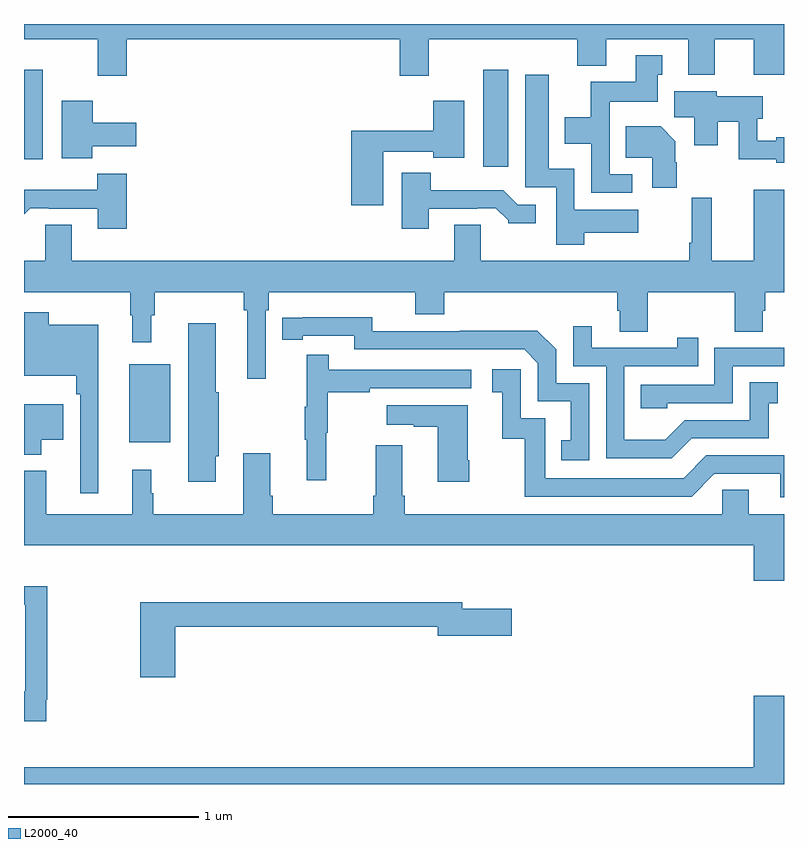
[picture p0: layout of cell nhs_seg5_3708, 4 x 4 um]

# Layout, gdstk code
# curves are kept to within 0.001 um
import gdstk
lib = gdstk.Library(unit=1e-6, precision=1e-09)
def R(c, l, rs):  # rectangles x0, y0, x1, y1
    for r in rs: c.add(gdstk.rectangle(r[:2], r[2:], *l))
def P(c, l, *ps):  # polygons
    for p in ps: c.add(gdstk.Polygon(p, *l))
L2000_40 = (2000, 40)

nhs_seg5_3708 = lib.new_cell('nhs_seg5_3708')
R(nhs_seg5_3708, L2000_40, [(329.555,894.599,329.77,895.009), (331.418,896.049,331.549,896.557), (329,896.088,329.098,896.557)])
P(nhs_seg5_3708, L2000_40, [(329,896.72),(329.387,896.72),(329.387,896.526),(329.54,896.526),(329.54,896.72),(330.977,896.72),(330.977,896.526),(331.129,896.526),(331.129,896.72),(331.913,896.72),(331.913,896.579),(332.065,896.579),(332.065,896.72),(332.495,896.72),(332.495,896.531),(332.635,896.531),(332.635,896.72),(332.84,896.72),(332.84,896.532),(333,896.532),(333,896.799),(329,896.799)],
  [(332.2,896.007),(332.082,896.007),(332.082,896.39),(332.335,896.39),(332.335,896.532),(332.359,896.532),(332.359,896.635),(332.219,896.635),(332.219,896.494),(331.984,896.494),(331.984,896.308),(331.847,896.308),(331.847,896.168),(331.986,896.168),(331.986,895.911),(332.2,895.911)],
  [(331.949,895.7),(332.233,895.7),(332.233,895.822),(331.896,895.822),(331.896,896.038),(331.762,896.038),(331.762,896.533),(331.637,896.533),(331.637,895.941),(331.8,895.941),(331.8,895.638),(331.949,895.638)],
  [(333,896.204),(332.958,896.204),(332.958,896.184),(332.859,896.184),(332.859,896.301),(332.887,896.301),(332.887,896.419),(332.646,896.419),(332.646,896.446),(332.423,896.446),(332.423,896.308),(332.528,896.308),(332.528,896.16),(332.65,896.16),(332.65,896.285),(332.763,896.285),(332.763,896.087),(332.958,896.087),(332.958,896.068),(333,896.068)],
  [(330.892,896.127),(331.154,896.127),(331.154,896.096),(331.318,896.096),(331.318,896.395),(331.154,896.395),(331.154,896.236),(330.722,896.236),(330.722,895.845),(330.892,895.845)],
  [(329.36,896.156),(329.59,896.156),(329.59,896.278),(329.362,896.278),(329.362,896.395),(329.198,896.395),(329.198,896.093),(329.36,896.093)],
  [(332.436,896.072),(332.428,896.072),(332.428,896.182),(332.35,896.26),(332.167,896.26),(332.167,896.096),(332.306,896.096),(332.306,895.938),(332.436,895.938)],
  [(331.129,895.827),(331.385,895.827),(331.385,895.83),(331.484,895.83),(331.548,895.766),(331.548,895.751),(331.693,895.751),(331.693,895.848),(331.599,895.848),(331.523,895.924),(331.141,895.924),(331.141,896.017),(330.989,896.017),(330.989,895.722),(331.129,895.722)],
  [(329.54,896.011),(329.385,896.011),(329.385,895.927),(329,895.927),(329,895.798),(329.032,895.83),(329.131,895.83),(329.131,895.827),(329.387,895.827),(329.387,895.722),(329.54,895.722)],
  [(330.273,895.292),(330.287,895.292),(330.287,895.388),(331.058,895.388),(331.058,895.271),(331.211,895.271),(331.211,895.388),(332.123,895.388),(332.123,895.29),(332.135,895.29),(332.135,895.18),(332.283,895.18),(332.283,895.388),(332.74,895.388),(332.74,895.18),(332.887,895.18),(332.887,895.29),(332.9,895.29),(332.9,895.388),(333,895.388),(333,895.927),(332.84,895.927),(332.84,895.552),(332.619,895.552),(332.619,895.885),(332.515,895.885),(332.515,895.648),(332.5,895.648),(332.5,895.552),(331.405,895.552),(331.405,895.742),(331.265,895.742),(331.265,895.552),(329.251,895.552),(329.251,895.742),(329.111,895.742),(329.111,895.552),(329,895.552),(329,895.388),(329.559,895.388),(329.559,895.265),(329.57,895.265),(329.57,895.125),(329.669,895.125),(329.669,895.265),(329.687,895.265),(329.687,895.388),(330.157,895.388),(330.157,895.292),(330.176,895.292),(330.176,894.933),(330.273,894.933)],
  [(329.392,895.216),(329.131,895.216),(329.131,895.282),(329.002,895.282),(329.002,895.105),(329,895.105),(329,894.947),(329.275,894.947),(329.275,894.851),(329.295,894.851),(329.295,894.33),(329.392,894.33)],
  [(331.974,894.909),(331.8,894.909),(331.8,895.086),(331.702,895.184),(331.294,895.184),(331.294,895.182),(330.834,895.182),(330.834,895.255),(330.358,895.254),(330.358,895.138),(330.466,895.138),(330.466,895.158),(330.738,895.158),(330.738,895.086),(331.632,895.086),(331.704,895.014),(331.704,894.813),(331.877,894.813),(331.877,894.609),(331.828,894.609),(331.828,894.504),(331.974,894.504)],
  [(330.01,894.525),(330.025,894.525),(330.025,894.861),(330.01,894.861),(330.01,895.225),(329.864,895.225),(329.864,894.39),(330.01,894.39)],
  [(332.515,894.618),(332.919,894.618),(332.919,894.803),(332.968,894.803),(332.968,894.913),(332.82,894.913),(332.82,894.714),(332.478,894.714),(332.374,894.61),(332.16,894.61),(332.16,894.999),(332.549,894.999),(332.549,895.147),(332.438,895.147),(332.438,895.095),(331.987,895.095),(331.987,895.207),(331.89,895.207),(331.89,894.999),(332.064,894.999),(332.064,894.513),(332.41,894.513)],
  [(332.385,894.804),(332.73,894.804),(332.73,894.999),(333,894.999),(333,895.095),(332.634,895.095),(332.634,894.9),(332.245,894.9),(332.245,894.777),(332.385,894.777)],
  [(330.59,894.648),(330.598,894.648),(330.598,894.862),(330.821,894.862),(330.821,894.882),(331.354,894.882),(331.354,894.978),(330.605,894.978),(330.605,895.057),(330.488,895.057),(330.488,894.785),(330.477,894.785),(330.477,894.611),(330.488,894.611),(330.488,894.399),(330.59,894.399)],
  [(333,894.528),(332.592,894.528),(332.472,894.408),(331.743,894.408),(331.743,894.723),(331.614,894.723),(331.614,894.982),(331.464,894.982),(331.464,894.861),(331.517,894.861),(331.517,894.615),(331.635,894.615),(331.635,894.312),(332.514,894.312),(332.634,894.432),(332.981,894.432),(332.981,894.309),(333,894.309)],
  [(329.092,894.611),(329.206,894.611),(329.206,894.799),(329,894.799),(329,894.533),(329.092,894.533)],
  [(331.344,894.502),(331.336,894.502),(331.336,894.793),(330.909,894.793),(330.909,894.689),(331.052,894.689),(331.052,894.679),(331.178,894.679),(331.178,894.39),(331.344,894.39)],
  [(333,894.22),(332.815,894.22),(332.815,894.347),(332.676,894.347),(332.676,894.22),(331.004,894.22),(331.004,894.316),(330.991,894.316),(330.991,894.583),(330.851,894.583),(330.851,894.316),(330.839,894.316),(330.839,894.22),(330.308,894.22),(330.308,894.316),(330.295,894.316),(330.295,894.541),(330.155,894.541),(330.155,894.22),(329.68,894.22),(329.68,894.329),(329.669,894.329),(329.669,894.454),(329.57,894.454),(329.57,894.22),(329.117,894.22),(329.117,894.448),(329,894.448),(329,894.056),(332.84,894.056),(332.84,893.868),(333,893.868)],
  [(329.116,893.242),(329.123,893.242),(329.123,893.84),(329,893.84),(329,893.742),(329.007,893.742),(329.007,893.286),(329,893.286),(329,893.13),(329.116,893.13)],
  [(329.795,893.626),(331.178,893.626),(331.178,893.579),(331.567,893.579),(331.567,893.721),(331.306,893.721),(331.306,893.755),(329.612,893.755),(329.612,893.361),(329.795,893.361)],
  [(333,893.263),(332.84,893.263),(332.84,892.888),(329,892.888),(329,892.799),(333,892.799)])

lib.write_gds('nhs_seg5_3708.gds')
